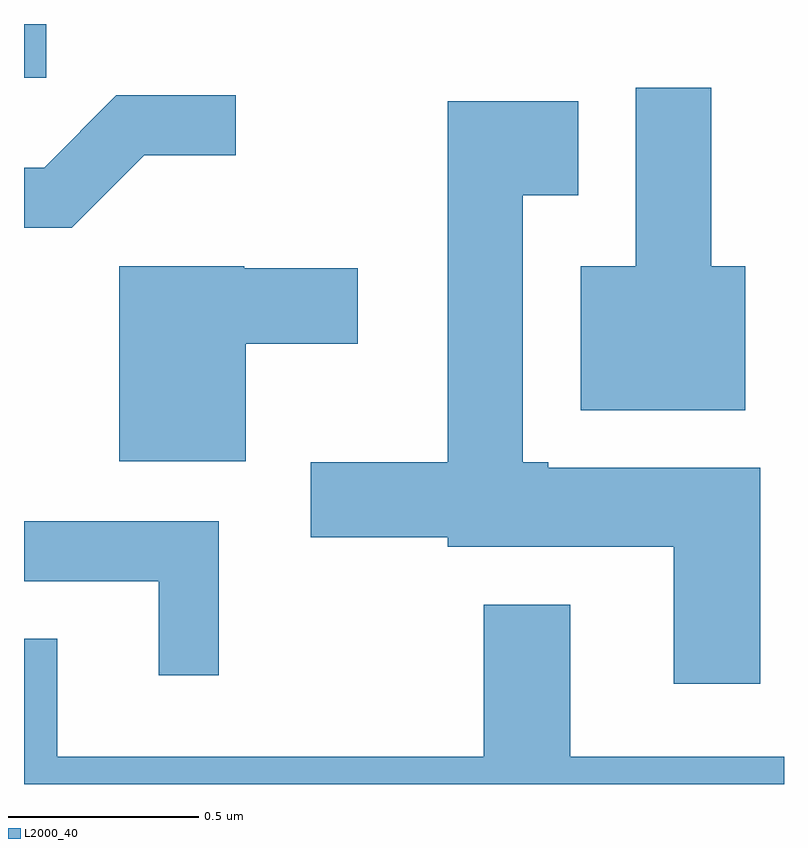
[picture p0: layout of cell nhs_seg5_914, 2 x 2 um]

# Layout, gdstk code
import gdstk
lib = gdstk.Library(unit=1e-6, precision=1e-09)
def R(c, l, rs):  # rectangles x0, y0, x1, y1
    for r in rs: c.add(gdstk.rectangle(r[:2], r[2:], *l))
def P(c, l, *ps):  # polygons
    for p in ps: c.add(gdstk.Polygon(p, *l))
L2000_40 = (2000, 40)

nhs_seg5_914 = lib.new_cell('nhs_seg5_914')
R(nhs_seg5_914, L2000_40, [(191.611,1489.931,191.669,1490.072)])
P(nhs_seg5_914, L2000_40, [(193.509,1489.434),(193.419,1489.434),(193.419,1489.904),(193.221,1489.904),(193.221,1489.434),(193.076,1489.434),(193.076,1489.056),(193.509,1489.056)],
  [(191.927,1489.726),(192.168,1489.726),(192.168,1489.884),(191.854,1489.884),(191.664,1489.694),(191.611,1489.694),(191.611,1489.536),(191.737,1489.536)],
  [(193.549,1488.904),(192.99,1488.904),(192.99,1488.919),(192.924,1488.919),(192.924,1489.621),(193.069,1489.621),(193.069,1489.869),(192.726,1489.869),(192.726,1488.919),(192.366,1488.919),(192.366,1488.721),(192.726,1488.721),(192.726,1488.696),(193.321,1488.696),(193.321,1488.336),(193.549,1488.336)],
  [(192.194,1489.231),(192.489,1489.231),(192.489,1489.429),(192.19,1489.429),(192.19,1489.434),(191.861,1489.434),(191.861,1488.921),(192.194,1488.921)],
  [(192.124,1488.764),(191.611,1488.764),(191.611,1488.606),(191.966,1488.606),(191.966,1488.358),(192.124,1488.358)],
  [(193.611,1488.144),(193.049,1488.144),(193.049,1488.544),(192.821,1488.544),(192.821,1488.144),(191.699,1488.144),(191.699,1488.454),(191.611,1488.454),(191.611,1488.072),(193.611,1488.072)])

lib.write_gds('nhs_seg5_914.gds')
